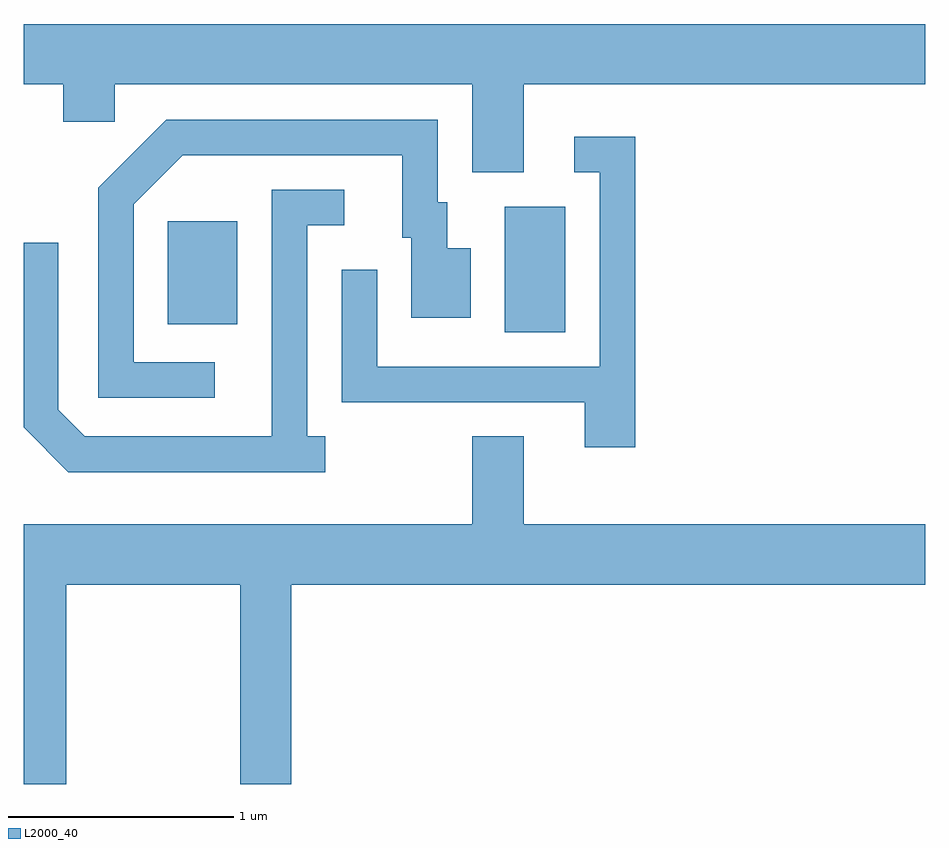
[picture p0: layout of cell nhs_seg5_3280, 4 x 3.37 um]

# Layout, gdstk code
import gdstk
lib = gdstk.Library(unit=1e-6, precision=1e-09)
def R(c, l, rs):  # rectangles x0, y0, x1, y1
    for r in rs: c.add(gdstk.rectangle(r[:2], r[2:], *l))
def P(c, l, *ps):  # polygons
    for p in ps: c.add(gdstk.Polygon(p, *l))
L2000_40 = (2000, 40)

nhs_seg5_3280 = lib.new_cell('nhs_seg5_3280')
R(nhs_seg5_3280, L2000_40, [(283.746,1520.076,284.014,1520.634), (282.251,1520.111,282.559,1520.569)])
P(nhs_seg5_3280, L2000_40, [(283.829,1521.176),(285.611,1521.176),(285.611,1521.444),(281.611,1521.444),(281.611,1521.176),(281.786,1521.176),(281.786,1521.011),(282.014,1521.011),(282.014,1521.176),(283.601,1521.176),(283.601,1520.786),(283.829,1520.786)],
  [(282.458,1519.944),(282.099,1519.944),(282.099,1520.644),(282.317,1520.861),(283.291,1520.861),(283.291,1520.496),(283.331,1520.496),(283.331,1520.141),(283.594,1520.141),(283.594,1520.449),(283.489,1520.449),(283.489,1520.654),(283.449,1520.654),(283.449,1521.019),(282.244,1521.019),(281.941,1520.717),(281.941,1519.786),(282.458,1519.786)],
  [(284.324,1520.944),(284.053,1520.944),(284.053,1520.786),(284.166,1520.786),(284.166,1519.924),(283.179,1519.924),(283.179,1520.353),(283.021,1520.353),(283.021,1519.766),(284.101,1519.766),(284.101,1519.566),(284.324,1519.566)],
  [(282.948,1519.614),(282.869,1519.614),(282.869,1520.551),(283.033,1520.551),(283.033,1520.709),(282.711,1520.709),(282.711,1519.614),(281.882,1519.614),(281.764,1519.732),(281.764,1520.473),(281.611,1520.473),(281.611,1519.654),(281.809,1519.456),(282.948,1519.456)],
  [(281.799,1518.956),(282.571,1518.956),(282.571,1518.072),(282.799,1518.072),(282.799,1518.956),(285.611,1518.956),(285.611,1519.224),(283.829,1519.224),(283.829,1519.614),(283.601,1519.614),(283.601,1519.224),(281.611,1519.224),(281.611,1518.072),(281.799,1518.072)])

lib.write_gds('nhs_seg5_3280.gds')
